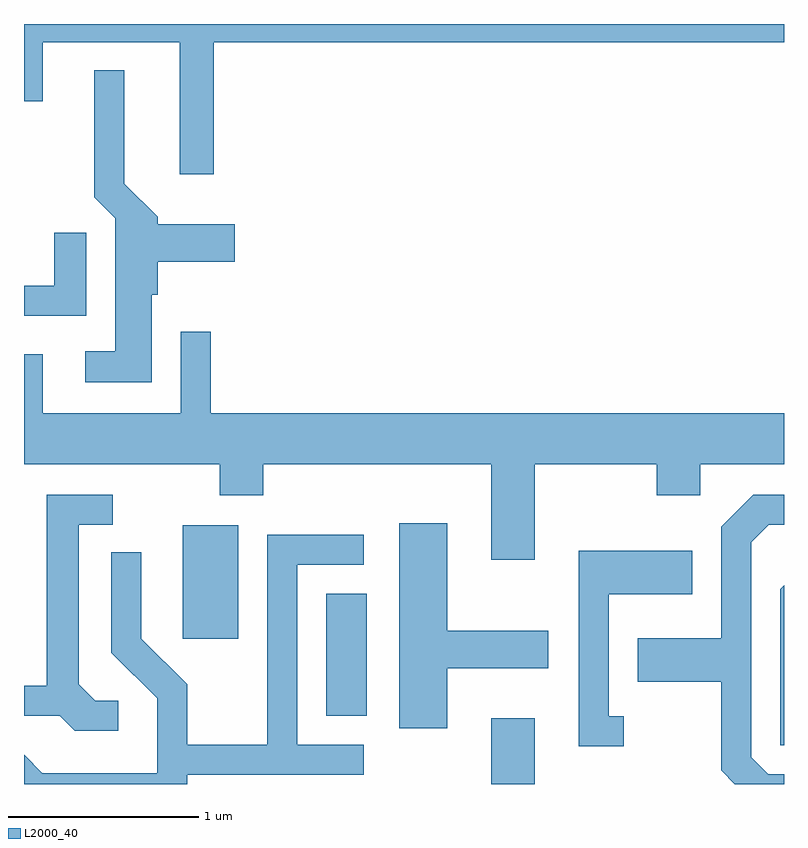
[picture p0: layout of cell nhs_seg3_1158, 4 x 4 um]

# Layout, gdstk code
import gdstk
lib = gdstk.Library(unit=1e-6, precision=1e-09)
def R(c, l, rs):  # rectangles x0, y0, x1, y1
    for r in rs: c.add(gdstk.rectangle(r[:2], r[2:], *l))
def P(c, l, *ps):  # polygons
    for p in ps: c.add(gdstk.Polygon(p, *l))
L2000_40 = (2000, 40)

nhs_seg3_1158 = lib.new_cell('nhs_seg3_1158')
R(nhs_seg3_1158, L2000_40, [(222.071,1119.892,222.299,1120.239), (221.201,1120.251,221.414,1120.894), (220.446,1120.656,220.739,1121.254)])
P(nhs_seg3_1158, L2000_40, [(220.609,1123.796),(223.611,1123.796),(223.611,1123.892),(219.611,1123.892),(219.611,1123.486),(219.709,1123.486),(219.709,1123.796),(220.431,1123.796),(220.431,1123.101),(220.609,1123.101)],
  [(220.284,1122.466),(220.314,1122.466),(220.314,1122.641),(220.719,1122.641),(220.719,1122.839),(220.314,1122.839),(220.314,1122.877),(220.139,1123.052),(220.139,1123.648),(219.981,1123.648),(219.981,1122.979),(220.091,1122.869),(220.091,1122.169),(219.933,1122.169),(219.933,1122.006),(220.284,1122.006)],
  [(219.939,1122.793),(219.771,1122.793),(219.771,1122.514),(219.611,1122.514),(219.611,1122.356),(219.939,1122.356)],
  [(222.299,1121.576),(222.941,1121.576),(222.941,1121.411),(223.169,1121.411),(223.169,1121.576),(223.611,1121.576),(223.611,1121.844),(220.594,1121.844),(220.594,1122.273),(220.436,1122.273),(220.436,1121.844),(219.709,1121.844),(219.709,1122.154),(219.611,1122.154),(219.611,1121.576),(220.641,1121.576),(220.641,1121.411),(220.869,1121.411),(220.869,1121.576),(222.071,1121.576),(222.071,1121.071),(222.299,1121.071)],
  [(220.108,1120.329),(219.987,1120.329),(219.899,1120.417),(219.899,1121.256),(220.078,1121.256),(220.078,1121.414),(219.731,1121.414),(219.731,1120.409),(219.611,1120.409),(219.611,1120.251),(219.799,1120.251),(219.879,1120.171),(220.108,1120.171)],
  [(223.611,1119.944),(223.527,1119.944),(223.439,1120.032),(223.439,1121.164),(223.532,1121.256),(223.611,1121.256),(223.611,1121.414),(223.449,1121.414),(223.281,1121.247),(223.281,1120.659),(222.841,1120.659),(222.841,1120.431),(223.281,1120.431),(223.281,1119.964),(223.353,1119.892),(223.611,1119.892)],
  [(221.839,1120.501),(222.369,1120.501),(222.369,1120.699),(221.839,1120.699),(221.839,1121.264),(221.586,1121.264),(221.586,1120.186),(221.839,1120.186)],
  [(220.469,1119.941),(221.398,1119.941),(221.398,1120.099),(221.049,1120.099),(221.049,1121.046),(221.398,1121.046),(221.398,1121.204),(220.891,1121.204),(220.891,1120.099),(220.469,1120.099),(220.469,1120.417),(220.229,1120.657),(220.229,1121.113),(220.071,1121.113),(220.071,1120.584),(220.311,1120.344),(220.311,1119.949),(219.707,1119.949),(219.611,1120.045),(219.611,1119.892),(220.469,1119.892)],
  [(222.768,1120.249),(222.689,1120.249),(222.689,1120.891),(223.129,1120.891),(223.129,1121.119),(222.531,1121.119),(222.531,1120.091),(222.768,1120.091)],
  [(223.611,1120.937),(223.591,1120.917),(223.591,1120.096),(223.611,1120.096)])

lib.write_gds('nhs_seg3_1158.gds')
